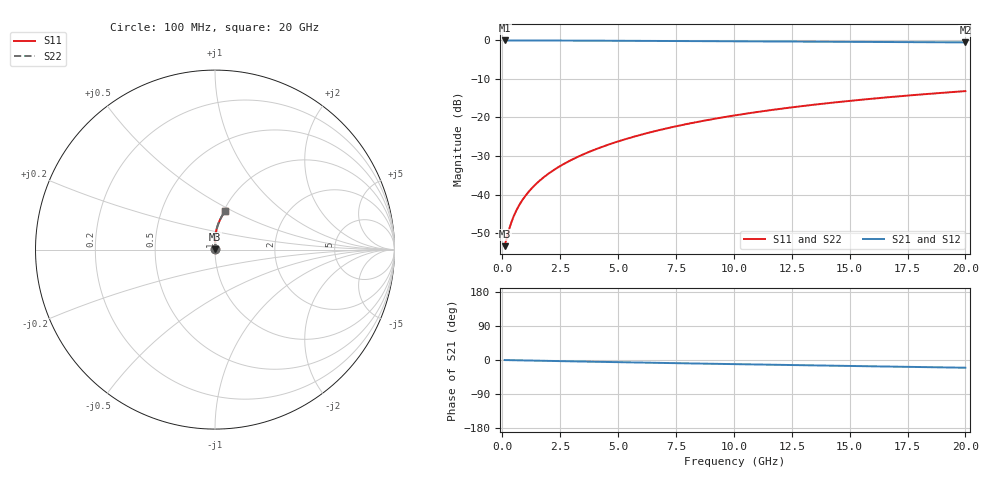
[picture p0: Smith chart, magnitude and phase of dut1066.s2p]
! Touchstone file exported from HFSS 2024.1.0
!  File:  C:/UserFiles/LocalFiles/RDL_TSV_Batchsim/temp_RDL_top_1066_1780045041.aedt
!  Generated:  04:59:22 PM May 29, 2026
!  Design:  RDL_top
!  Project:  temp_RDL_top_1066_1780045041
!  Setup:  Setup1
!  Solution:  Sweep
! Variables:
!  dtsv = 10.80580581um
!  hbump = 3um
!  htsv = 70.81um
!  ldown = 100um
!  lrdl = 243.49um
!  p = 40
!  p1 = 54.89um
!  rhole = 1um
!  t = 450um
!  tdown = 3.915915916um
!  trdl = 2.25um
!  wdown = 15.38538539um
!  wrdl = 25.63um
# GHz S MA R 50.000000
! Terminal data exported
! Port[1] = Box2_T1
! Port[2] = Box2_T2
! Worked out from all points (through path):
!   200 points, 100 MHz to 20 GHz, reference 50 ohm
!   highest |S21| = -0.02 dB at 100 MHz (marker M1); lowest = -0.5 dB at 20 GHz (marker M2)
!   group delay of S21, straight-line fit = 2.8 ps
!   lowest |S11| = -53.4 dB at 100 MHz (marker M3), VSWR 1.00, Z = 50.2 + j0.102 ohm
!   |S11| at or under -10 dB: start of sweep to end of sweep
!   |S22| runs from -53.4 to -13.2 dB; largest |S21 - S12| = 3.6e-15
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0.1  0.002142 28.4  0.9981 -0.1  0.9981 -0.1  0.002142 28.4
! Gamma 0 0 0 0
! Port Impedance 50 0 50 0
0.3  0.003594 56.3  0.998 -0.4  0.998 -0.4  0.003594 56.3
0.4  0.00444 62.4  0.9979 -0.5  0.9979 -0.5  0.00444 62.4
0.5  0.005299 66.6  0.9977 -0.6  0.9977 -0.6  0.005299 66.6
0.6  0.006162 69.6  0.9976 -0.7  0.9976 -0.7  0.006162 69.6
0.8  0.007898 73.9  0.9974 -1.0  0.9974 -1.0  0.007898 73.9
1  0.009652 76.8  0.9972 -1.2  0.9972 -1.2  0.009652 76.8
1.2  0.01143 79.0  0.997 -1.4  0.997 -1.4  0.01143 79.0
1.4  0.01322 80.7  0.9968 -1.7  0.9968 -1.7  0.01322 80.7
1.7  0.01596 82.6  0.9964 -2.0  0.9964 -2.0  0.01596 82.6
2.2  0.02061 84.9  0.9956 -2.6  0.9956 -2.6  0.02061 84.9
2.8  0.02635 86.6  0.9945 -3.3  0.9945 -3.3  0.02635 86.6
3.5  0.03328 87.9  0.9929 -4.1  0.9929 -4.1  0.03328 87.9
4.2  0.04044 88.6  0.9912 -4.9  0.9912 -4.9  0.04044 88.6
5  0.04891 89.0  0.989 -5.8  0.989 -5.8  0.04891 89.0
6.8  0.06885 88.8  0.9836 -7.7  0.9836 -7.7  0.06885 88.8
8.4  0.08727 87.8  0.9786 -9.3  0.9786 -9.3  0.08727 87.8
10.1  0.1072 86.2  0.9733 -11.0  0.9733 -11.0  0.1072 86.2
11.7  0.1259 84.5  0.9683 -12.6  0.9683 -12.6  0.1259 84.5
13.4  0.1458 82.7  0.9631 -14.2  0.9631 -14.2  0.1458 82.7
16.7  0.1835 79.0  0.9527 -17.3  0.9527 -17.3  0.1835 79.0
20  0.2198 75.4  0.942 -20.4  0.942 -20.4  0.2198 75.4
